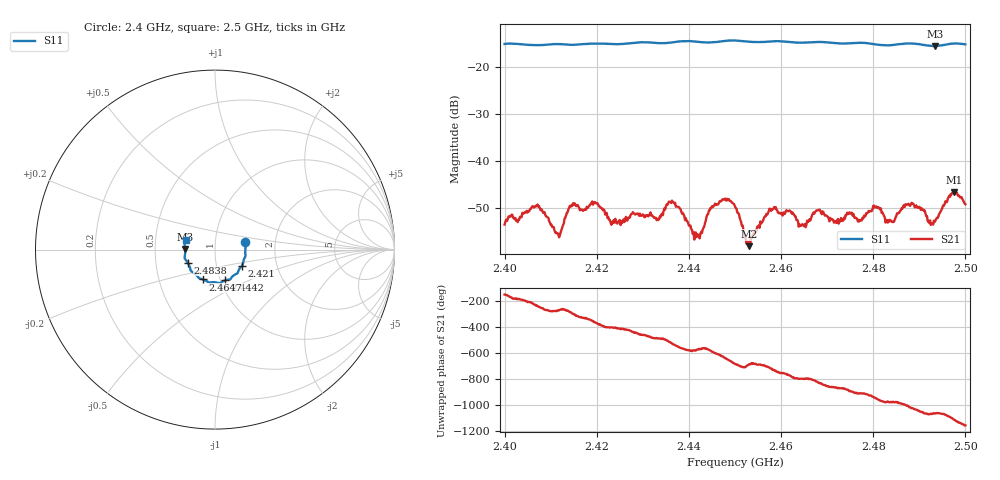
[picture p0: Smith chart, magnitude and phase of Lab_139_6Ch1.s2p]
# Hz S RI R 50
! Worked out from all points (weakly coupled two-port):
!   601 points, 2.4 GHz to 2.5 GHz, reference 50 ohm
!   highest |S21| = -46.71 dB at 2.4975 GHz (marker M1); lowest = -58.1 dB at 2.453 GHz (marker M2)
!   lowest |S11| = -15.6 dB at 2.4935 GHz (marker M3), VSWR 1.40, Z = 35.8 + j0.208 ohm
!   |S11| at or under -10 dB: start of sweep to end of sweep
!   S12 and S22 are empty: the file has one direction only
!   S11 on the Smith chart (normalised r, x): 2.4 GHz: 1.40, +0.12; 2.421 GHz: 1.33, -0.24; 2.4442 GHz: 1.05, -0.37; 2.4647 GHz: 0.83, -0.28; 2.4838 GHz: 0.73, -0.11; 2.5 GHz: 0.72, +0.08
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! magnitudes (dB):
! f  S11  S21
! 2.4 GHz  -15.2  -53.5
! 2.407 GHz  -15.4  -49.7
! 2.4117 GHz  -15.2  -55.6
! 2.4143 GHz  -15.4  -49.7
! 2.4167 GHz  -15.3  -50.4
! 2.421 GHz  -15.1  -50.1
! 2.4333 GHz  -15.0  -52.6
! 2.4365 GHz  -14.9  -48.8
! 2.442 GHz  -14.8  -55.7
! 2.4442 GHz  -14.9  -51.3
! 2.45 GHz  -14.5  -49.7
! 2.453 GHz  -14.7  -58.1
! 2.458 GHz  -14.6  -50.3
! 2.4647 GHz  -14.9  -53.5
! 2.4667 GHz  -14.8  -51.8
! 2.4805 GHz  -15.3  -49.8
! 2.4833 GHz  -15.5  -53.0
! 2.4838 GHz  -15.5  -52.7
! 2.4882 GHz  -15.1  -49.3
! 2.4935 GHz  -15.6  -52.7
! 2.4975 GHz  -15.1  -46.7
! 2.5 GHz  -15.3  -49.2
